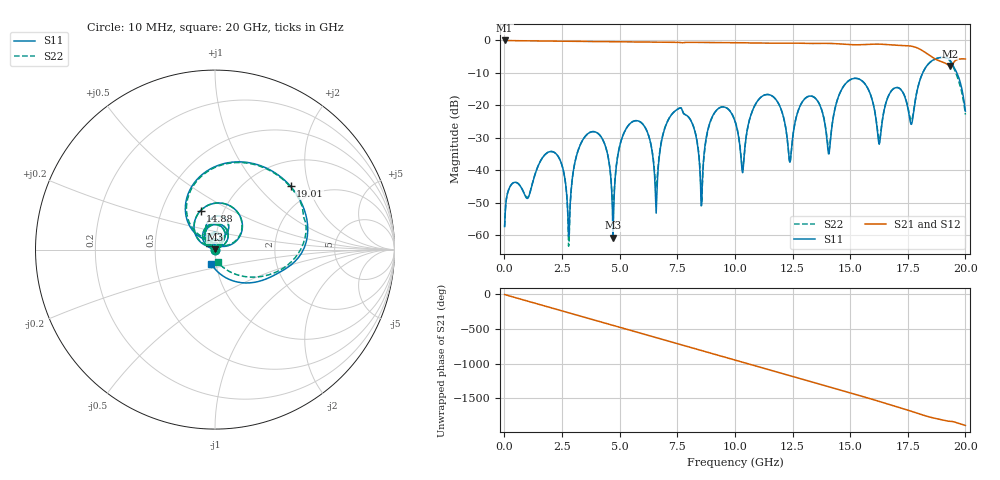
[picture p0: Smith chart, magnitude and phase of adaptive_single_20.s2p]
! HFSS adaptive-range study - 40 x 12 mm 5-layer stripline coupon
! with a signal via transition at mid-board
! Case: Single-frequency adaptive at 20 GHz (sweep maximum)
! Sweep: interpolating 10 MHz - 20 GHz, 25 MHz step, 4 cores
# GHz S MA R 50.000000
! Terminal data exported
! Port[1] = U1.PAD1.SIG
! Port[2] = U2.PAD1.SIG
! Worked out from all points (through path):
!   801 points, 10 MHz to 20 GHz, reference 50 ohm
!   highest |S21| = -0.01 dB at 10 MHz (marker M1); lowest = -7.9 dB at 19.34 GHz (marker M2)
!   group delay of S21, straight-line fit = 265 ps
!   lowest |S11| = -60.7 dB at 4.71 GHz (marker M3), VSWR 1.00, Z = 50 + j0.0847 ohm
!   |S11| at or under -10 dB: start of sweep to 18.15 GHz; 19.63 GHz to end of sweep
!   |S22| runs from -63.3 to -5.2 dB; largest |S21 - S12| = 4.2e-14
!   S11 on the Smith chart (normalised r, x): 10 MHz: 1.00, +0.00; 14.88 GHz: 0.78, +0.36; 19.01 GHz: 1.52, +1.54; 20 GHz: 0.95, -0.15
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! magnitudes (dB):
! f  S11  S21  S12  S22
! 10 MHz  -57.3  0.0  0.0  -57.3
! 2.01 GHz  -34.2  -0.2  -0.2  -34.2
! 2.81 GHz  -59.4  -0.3  -0.3  -61.9
! 3.36 GHz  -31.1  -0.3  -0.3  -31.1
! 4.71 GHz  -60.7  -0.4  -0.4  -51.9
! 5.56 GHz  -25.0  -0.4  -0.4  -25.0
! 6.685 GHz  -38.3  -0.5  -0.5  -37.4
! 7.51 GHz  -21.2  -0.6  -0.6  -21.2
! 8.535 GHz  -50.9  -0.6  -0.6  -47.4
! 9.085 GHz  -22.6  -0.7  -0.7  -22.7
! 10.01 GHz  -25.0  -0.7  -0.7  -24.9
! 10.34 GHz  -40.7  -0.7  -0.7  -39.9
! 11.59 GHz  -17.0  -0.8  -0.8  -17.0
! 12.38 GHz  -37.5  -0.8  -0.8  -37.7
! 13.36 GHz  -17.2  -0.9  -0.9  -17.2
! 14.09 GHz  -34.9  -0.9  -0.9  -33.5
! 14.88 GHz  -12.7  -1.2  -1.2  -12.7
! 16.26 GHz  -32.0  -1.1  -1.1  -30.8
! 16.68 GHz  -16.8  -1.3  -1.3  -16.7
! 19.01 GHz  -5.2  -6.7  -6.7  -5.2
! 19.34 GHz  -6.1  -7.9  -7.9  -6.4
! 20 GHz  -21.8  -5.7  -5.7  -22.8
